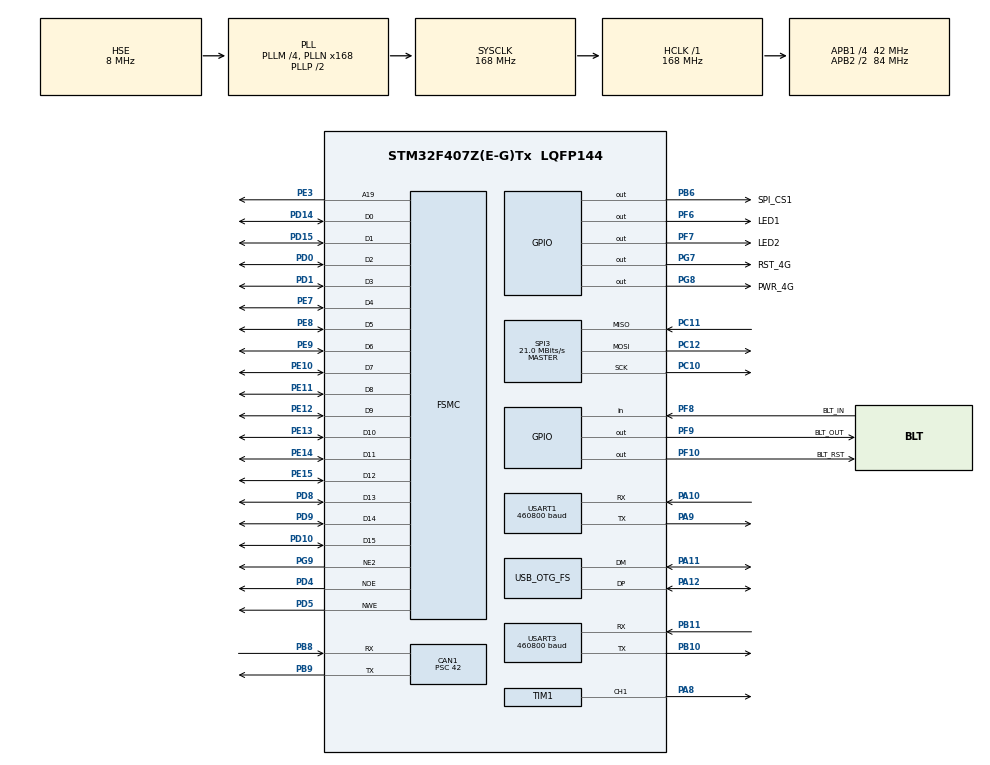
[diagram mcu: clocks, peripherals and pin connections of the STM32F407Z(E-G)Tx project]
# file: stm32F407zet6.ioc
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CAN1.ABOM=ENABLE
CAN1.AWUM=ENABLE
CAN1.BS1=CAN_BS1_4TQ
CAN1.BS2=CAN_BS2_3TQ
CAN1.CalculateBaudRate=125000
CAN1.CalculateTimeBit=8000
CAN1.CalculateTimeQuantum=1000.0
CAN1.Prescaler=42
Dma.Request0=TIM1_CH1
Dma.TIM1_CH1.0.Direction=DMA_MEMORY_TO_PERIPH
Dma.TIM1_CH1.0.FIFOMode=DMA_FIFOMODE_DISABLE
Dma.TIM1_CH1.0.Instance=DMA2_Stream1
Dma.TIM1_CH1.0.MemDataAlignment=DMA_MDATAALIGN_HALFWORD
Dma.TIM1_CH1.0.MemInc=DMA_MINC_ENABLE
Dma.TIM1_CH1.0.Mode=DMA_NORMAL
Dma.TIM1_CH1.0.PeriphDataAlignment=DMA_PDATAALIGN_HALFWORD
Dma.TIM1_CH1.0.PeriphInc=DMA_PINC_DISABLE
Dma.TIM1_CH1.0.Priority=DMA_PRIORITY_LOW
FREERTOS.Events01=getCarData,Dynamic,NULL
FREERTOS.INCLUDE_eTaskGetState=0
FREERTOS.INCLUDE_xEventGroupSetBitFromISR=1
FREERTOS.Mutexes01=lvgl_mutex,Dynamic,NULL
FREERTOS.Tasks01=iotUploadTask,32,512,Start_IotUploadTask,Default,NULL,Dynamic,NULL,NULL;LVGL_Task,48,1024,Start_LVGL_Task,Default,NULL,Dynamic,NULL,NULL;LVGL_Meter,48,256,Start_LVGL_Meter,Default,NULL,Dynamic,NULL,NULL;LVGL_Lap_Timer,48,128,Start_LVGL_Lap_Timer,Default,NULL,Dynamic,NULL,NULL;BC260Y_init,49,128,Start_BC260Y_init,Default,NULL,Dynamic,NULL,NULL;RPM_LED_Task,40,128,Start_RPM_LED,Default,NULL,Dynamic,NULL,NULL
FSMC.BusTurnAroundDuration2=1
FSMC.DataSetupTime2=60
FSMC.ExtendedAddressSetupTime2=2
FSMC.ExtendedBusTurnAroundDuration2=1
FSMC.ExtendedDataSetupTime2=3
FSMC.ExtendedMode2=FSMC_EXTENDED_MODE_ENABLE
Mcu.Family=STM32F4
Mcu.Name=STM32F407Z(E-G)Tx
Mcu.Package=LQFP144
NVIC.CAN1_RX0_IRQn=true\:5\:0\:false\:false\:true\:true\:true\:true\:true
NVIC.DMA2_Stream1_IRQn=true\:5\:0\:false\:false\:true\:true\:false\:true\:true
NVIC.OTG_FS_IRQn=true\:5\:0\:false\:false\:true\:true\:false\:true\:true
NVIC.PriorityGroup=NVIC_PRIORITYGROUP_4
NVIC.TIM2_IRQn=true\:15\:0\:false\:false\:true\:false\:false\:true\:true
NVIC.TIM3_IRQn=true\:5\:0\:false\:false\:true\:true\:true\:true\:true
NVIC.TIM4_IRQn=true\:5\:0\:false\:false\:true\:true\:true\:true\:true
NVIC.TimeBase=TIM2_IRQn
NVIC.TimeBaseIP=TIM2
NVIC.USART1_IRQn=true\:5\:0\:false\:false\:true\:true\:true\:true\:true
NVIC.USART3_IRQn=true\:5\:0\:false\:false\:true\:true\:true\:true\:true
PA10.Mode=Asynchronous
PA10.Signal=USART1_RX
PA11.Mode=Device_Only
PA11.Signal=USB_OTG_FS_DM
PA12.Mode=Device_Only
PA12.Signal=USB_OTG_FS_DP
PA13.Mode=Serial_Wire
PA13.Signal=SYS_JTMS-SWDIO
PA14.Mode=Serial_Wire
PA14.Signal=SYS_JTCK-SWCLK
PA8.Signal=S_TIM1_CH1
PA9.Mode=Asynchronous
PA9.Signal=USART1_TX
PB10.Mode=Asynchronous
PB10.Signal=USART3_TX
PB11.Mode=Asynchronous
PB11.Signal=USART3_RX
PB6.GPIO_Label=SPI_CS1
PB6.Signal=GPIO_Output
PB8.Mode=CAN_Activate
PB8.Signal=CAN1_RX
PB9.Mode=CAN_Activate
PB9.Signal=CAN1_TX
PC10.Mode=Full_Duplex_Master
PC10.Signal=SPI3_SCK
PC11.Mode=Full_Duplex_Master
PC11.Signal=SPI3_MISO
PC12.Mode=Full_Duplex_Master
PC12.Signal=SPI3_MOSI
PD0.Signal=FSMC_D2_DA2
PD1.Signal=FSMC_D3_DA3
PD10.Signal=FSMC_D15_DA15
PD14.Signal=FSMC_D0_DA0
PD15.Signal=FSMC_D1_DA1
PD4.Signal=FSMC_NOE
PD5.Signal=FSMC_NWE
PD8.Signal=FSMC_D13_DA13
PD9.Signal=FSMC_D14_DA14
PE10.Signal=FSMC_D7_DA7
PE11.Signal=FSMC_D8_DA8
PE12.Signal=FSMC_D9_DA9
PE13.Signal=FSMC_D10_DA10
PE14.Signal=FSMC_D11_DA11
PE15.Signal=FSMC_D12_DA12
PE3.Signal=FSMC_A19
PE7.Signal=FSMC_D4_DA4
PE8.Signal=FSMC_D5_DA5
PE9.Signal=FSMC_D6_DA6
PF10.GPIO_Label=BLT_RST
PF10.Signal=GPIO_Output
PF6.GPIO_Label=LED1
PF6.PinState=GPIO_PIN_SET
PF6.Signal=GPIO_Output
PF7.GPIO_Label=LED2
PF7.PinState=GPIO_PIN_SET
PF7.Signal=GPIO_Output
PF8.GPIO_Label=BLT_IN
PF8.Signal=GPIO_Input
PF9.GPIO_Label=BLT_OUT
PF9.Signal=GPIO_Output
PG7.GPIO_Label=RST_4G
PG7.Signal=GPIO_Output
PG8.GPIO_Label=PWR_4G
PG8.Signal=GPIO_Output
PG9.Mode=NorPsramChipSelect2_2
PG9.Signal=FSMC_NE2
PH0-OSC_IN.Mode=HSE-External-Oscillator
PH0-OSC_IN.Signal=RCC_OSC_IN
PH1-OSC_OUT.Mode=HSE-External-Oscillator
PH1-OSC_OUT.Signal=RCC_OSC_OUT
ProjectManager.HeapSize=0xC00
ProjectManager.StackSize=0x1000
ProjectManager.TargetToolchain=MDK-ARM V5.32
RCC.48MHZClocksFreq_Value=48000000
RCC.AHBFreq_Value=168000000
RCC.APB1CLKDivider=RCC_HCLK_DIV4
RCC.APB1Freq_Value=42000000
RCC.APB1TimFreq_Value=84000000
RCC.APB2CLKDivider=RCC_HCLK_DIV2
RCC.APB2Freq_Value=84000000
RCC.APB2TimFreq_Value=168000000
RCC.CortexFreq_Value=168000000
RCC.HCLKFreq_Value=168000000
RCC.HSE_VALUE=8000000
RCC.HSI_VALUE=16000000
RCC.LSE_VALUE=32768
RCC.PLLM=4
RCC.PLLN=168
RCC.PLLQ=7
RCC.PLLSourceVirtual=RCC_PLLSOURCE_HSE
RCC.SYSCLKFreq_VALUE=168000000
RCC.SYSCLKSource=RCC_SYSCLKSOURCE_PLLCLK
RCC.VCOOutputFreq_Value=336000000
SH.FSMC_A19.0=FSMC_A19,A19_2
SH.FSMC_D0_DA0.0=FSMC_D0,16b-d2
SH.FSMC_D10_DA10.0=FSMC_D10,16b-d2
SH.FSMC_D11_DA11.0=FSMC_D11,16b-d2
SH.FSMC_D12_DA12.0=FSMC_D12,16b-d2
SH.FSMC_D13_DA13.0=FSMC_D13,16b-d2
SH.FSMC_D14_DA14.0=FSMC_D14,16b-d2
SH.FSMC_D15_DA15.0=FSMC_D15,16b-d2
SH.FSMC_D1_DA1.0=FSMC_D1,16b-d2
SH.FSMC_D2_DA2.0=FSMC_D2,16b-d2
SH.FSMC_D3_DA3.0=FSMC_D3,16b-d2
SH.FSMC_D4_DA4.0=FSMC_D4,16b-d2
SH.FSMC_D5_DA5.0=FSMC_D5,16b-d2
SH.FSMC_D6_DA6.0=FSMC_D6,16b-d2
SH.FSMC_D7_DA7.0=FSMC_D7,16b-d2
SH.FSMC_D8_DA8.0=FSMC_D8,16b-d2
SH.FSMC_D9_DA9.0=FSMC_D9,16b-d2
SH.FSMC_NOE.0=FSMC_NOE,Lcd2
SH.FSMC_NWE.0=FSMC_NWE,Lcd2
SH.S_TIM1_CH1.0=TIM1_CH1,PWM Generation1 CH1
SPI3.BaudRatePrescaler=SPI_BAUDRATEPRESCALER_2
SPI3.CalculateBaudRate=21.0 MBits/s
SPI3.Direction=SPI_DIRECTION_2LINES
SPI3.Mode=SPI_MODE_MASTER
SPI3.VirtualType=VM_MASTER
STMicroelectronics.X-CUBE-TOUCHGFX.4.20.0.tgfx_block_size=38400
STMicroelectronics.X-CUBE-TOUCHGFX.4.20.0.tgfx_buffering_strategy=Single
STMicroelectronics.X-CUBE-TOUCHGFX.4.20.0.tgfx_custom_height=240
STMicroelectronics.X-CUBE-TOUCHGFX.4.20.0.tgfx_custom_width=240
STMicroelectronics.X-CUBE-TOUCHGFX.4.20.0.tgfx_datareader=Disabled
STMicroelectronics.X-CUBE-TOUCHGFX.4.20.0.tgfx_display_interface=disp_fmc
STMicroelectronics.X-CUBE-TOUCHGFX.4.20.0.tgfx_fmc_base_address=0x64000000
STMicroelectronics.X-CUBE-TOUCHGFX.4.20.0.tgfx_location=Allocate
STMicroelectronics.X-CUBE-TOUCHGFX.4.20.0.tgfx_number_of_blocks=1
STMicroelectronics.X-CUBE-TOUCHGFX.4.20.0_IsPackSelfContextualization=true
TIM1.Channel-PWM\ Generation1\ CH1=TIM_CHANNEL_1
TIM1.Period=209
TIM3.Period=9
TIM3.Prescaler=8399
TIM4.Period=99
TIM4.Prescaler=8399
USART1.BaudRate=460800
USART1.VirtualMode=VM_ASYNC
USART3.BaudRate=460800
USART3.VirtualMode=VM_ASYNC
USB_DEVICE.CLASS_NAME_FS=CDC
USB_DEVICE.USBD_MAX_STR_DESC_SIZ-CDC_FS=128
USB_DEVICE.VirtualMode-CDC_FS=Cdc
USB_DEVICE.VirtualModeFS=Cdc_FS
USB_OTG_FS.VirtualMode=Device_Only
VP_CRC_VS_CRC.Mode=CRC_Activate
VP_FREERTOS_VS_CMSIS_V2.Mode=CMSIS_V2
VP_SYS_VS_tim2.Mode=TIM2
VP_TIM1_VS_ClockSourceINT.Mode=Internal
VP_TIM3_VS_ClockSourceINT.Mode=Internal
VP_TIM4_VS_ClockSourceINT.Mode=Internal
VP_USB_DEVICE_VS_USB_DEVICE_CDC_FS.Mode=CDC_FS
board=custom

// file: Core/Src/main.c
/* USER CODE BEGIN Header */
/**
  ******************************************************************************
  * @file           : main.c
  * @brief          : Main program body
  ******************************************************************************
  * @attention
  *
  * Copyright (c) 2022 STMicroelectronics.
  * All rights reserved.
  *
  * This software is licensed under terms that can be found in the LICENSE file
  * in the root directory of this software component.
  * If no LICENSE file comes with this software, it is provided AS-IS.
  *
  ******************************************************************************
  */
/* USER CODE END Header */
#include "main.h"
#include "cmsis_os.h"
#include "can.h"
#include "crc.h"
#include "dma.h"
#include "spi.h"
#include "tim.h"
#include "usart.h"
#include "usb_otg.h"
#include "gpio.h"
#include "fsmc.h"

/* USER CODE BEGIN Includes */
#include "bsp_LCD.h"
#include "bsp_BC260Y.h"
#include "bsp_WS2812B.h"
#include "bsp_CAN.h"
#include "lvgl.h"
#include "lv_port_disp.h"
#include "ui.h"
#include "applicationVar.h"

/* USER CODE END Includes */

/* USER CODE BEGIN PD */
#define SPI_FATFS_DEBUG 0
#define LVGL_DEBUG 1

/* USER CODE END PD */

/* USER CODE BEGIN PV */
#if SPI_FATFS_DEBUG
#include "spi.h"
#include "lv_port_fs.h"
#include "ff.h"
uint8_t errorCode,formatSTAT,i;
FATFS fs;//文件系统对象
FIL fp;//文件对象
BYTE work[4096];
extern LV_ATTRIBUTE_MEM_ALIGN uint8_t ui_img_splash_png_data[];
char *write_text="FATFS test success!!!!";
unsigned int write_bytes=0;
char read_buff[8192];
unsigned int read_bytes=0;
#endif
/* USER CODE END PV */

void SystemClock_Config(void);
void MX_FREERTOS_Init(void);

/* USER CODE BEGIN 0 */
#if SPI_FATFS_DEBUG
void SPI_FLASH_WriteTest()
{
	if(!f_open(&fp,"0:test.txt",FA_CREATE_ALWAYS | FA_WRITE))
	{
		printf("open file success!\n");
	}
	else printf("open file failure!\n");

	if(!f_write(&fp,(char*)ui_img_splash_png_data,strlen((char*)ui_img_splash_png_data),&write_bytes))
	{
		printf("write success,write_bytes=%d\n",write_bytes);
	}
	else printf("write failure!\n");
 	if(!f_close(&fp))
	{
		printf("close success!\n");
	}
	else printf("close failure!\n");
	if(!f_open(&fp,"0:test.txt",FA_READ))
	{
		printf("open file success!\n");
	}
	else printf("open file failure!\n");
	if(!f_read(&fp,(char*)read_buff,sizeof(read_buff),&read_bytes))
	{
		printf("read success,write_bytes=%d\n",read_bytes);
		printf("test.txt content is :%s\n",read_buff);
	}
	else printf("read failure!\n");
	if(!f_close(&fp))
	{
		printf("close success!\n");
	}
	else printf("close failure!\n");
}
#endif

/* USER CODE END 0 */

int main(void)
{
  /* USER CODE BEGIN 1 */

//	uint8_t barUpdataFlag = 1;
  /* USER CODE END 1 */

  /* MCU Configuration--------------------------------------------------------*/

  /* Reset of all peripherals, Initializes the Flash interface and the Systick. */
  HAL_Init();

  /* Configure the system clock */
  SystemClock_Config();

  /* Initialize all configured peripherals */
  MX_GPIO_Init();
  MX_DMA_Init();
  MX_FSMC_Init();
  MX_CRC_Init();
  MX_TIM3_Init();
  MX_SPI3_Init();
  MX_USART1_UART_Init();
  MX_TIM1_Init();
  MX_CAN1_Init();
  MX_USART3_UART_Init();
  MX_TIM4_Init();
  MX_USB_OTG_FS_PCD_Init();
  /* USER CODE BEGIN 2 */
	//   LVGL任务定时器中断
	HAL_TIM_Base_Start_IT(&htim3);
	appStatus.initOK_Flag = 0;
	appStatus.standByStatus = 1; //打开待机模式
	appStatus.canOpenStatus = 0; //关闭实车模式
	appStatus.simhubStatus  = 0; //关闭模拟器模式
	CanFilterInit();
	ws2812_init(12);
	LCD_Init();
	LCD_Clear(BLACK);
#if LVGL_DEBUG
	lv_init();
	lv_port_disp_init();  // lvgl显示接口初始化,放在lv_init()的后面
	//lv_port_fs_init();
	//lv_bmp_init();
	ui_init();

#endif
#if SPI_FATFS_DEBUG
	formatSTAT = f_mkfs("0:",0,work,sizeof work);
	printf("format stat is :%d\n",formatSTAT);
	errorCode = f_mount(&fs,"0:",1);

	if(!errorCode)//挂载外部FLASH)
	{
		printf("mount success!\n");
	}
	else
	{
		printf("Mount Failed!!!errorCode:%d\r\n",errorCode);
	}
	SPI_FLASH_WriteTest();
#endif
  /* USER CODE END 2 */

  /* Init scheduler */
  osKernelInitialize();  /* Call init function for freertos objects (in freertos.c) */
  MX_FREERTOS_Init();

  /* Start scheduler */
  osKernelStart();

  /* We should never get here as control is now taken by the scheduler */
  /* Infinite loop */
  /* USER CODE BEGIN WHILE */
//  while (1)
//  {
//		if(barFlag == 1)
//			sendEventCode();
//#if LVGL_DEBUG
//		lv_task_handler(); // lvgl的事务处理
//#endif
//		HAL_Delay(1);
//
    /* USER CODE END WHILE */

    /* USER CODE BEGIN 3 */
//  }
  /* USER CODE END 3 */
}

void SystemClock_Config(void)
{
  RCC_OscInitTypeDef RCC_OscInitStruct = {0};
  RCC_ClkInitTypeDef RCC_ClkInitStruct = {0};

  /** Configure the main internal regulator output voltage
  */
  __HAL_RCC_PWR_CLK_ENABLE();
  __HAL_PWR_VOLTAGESCALING_CONFIG(PWR_REGULATOR_VOLTAGE_SCALE1);

  /** Initializes the RCC Oscillators according to the specified parameters
  * in the RCC_OscInitTypeDef structure.
  */
  RCC_OscInitStruct.OscillatorType = RCC_OSCILLATORTYPE_HSE;
  RCC_OscInitStruct.HSEState = RCC_HSE_ON;
  RCC_OscInitStruct.PLL.PLLState = RCC_PLL_ON;
  RCC_OscInitStruct.PLL.PLLSource = RCC_PLLSOURCE_HSE;
  RCC_OscInitStruct.PLL.PLLM = 4;
  RCC_OscInitStruct.PLL.PLLN = 168;
  RCC_OscInitStruct.PLL.PLLP = RCC_PLLP_DIV2;
  RCC_OscInitStruct.PLL.PLLQ = 7;
  if (HAL_RCC_OscConfig(&RCC_OscInitStruct) != HAL_OK)
  {
    Error_Handler();
  }

  /** Initializes the CPU, AHB and APB buses clocks
  */
  RCC_ClkInitStruct.ClockType = RCC_CLOCKTYPE_HCLK|RCC_CLOCKTYPE_SYSCLK
                              |RCC_CLOCKTYPE_PCLK1|RCC_CLOCKTYPE_PCLK2;
  RCC_ClkInitStruct.SYSCLKSource = RCC_SYSCLKSOURCE_PLLCLK;
  RCC_ClkInitStruct.AHBCLKDivider = RCC_SYSCLK_DIV1;
  RCC_ClkInitStruct.APB1CLKDivider = RCC_HCLK_DIV4;
  RCC_ClkInitStruct.APB2CLKDivider = RCC_HCLK_DIV2;

  if (HAL_RCC_ClockConfig(&RCC_ClkInitStruct, FLASH_LATENCY_5) != HAL_OK)
  {
    Error_Handler();
  }
}

void HAL_TIM_PeriodElapsedCallback(TIM_HandleTypeDef *htim)
{
  if (htim->Instance == TIM2) {
    HAL_IncTick();
  }
  /* USER CODE BEGIN Callback 1 */
	if (htim == (&htim3))
  {
		lv_tick_inc(1);//lvgl的1ms中断
			//printf("tick\n");
  }
	if(htim == (&htim4))
	{
		msec+=1;
		if(msec == 100)
		{
			msec = 0;
			sec+=1;
		}
		if(sec == 60)
		{
			sec = 0;
			min+=1;

		}
		if(min == 60)
		{
			msec = 0;
			min = 0;
			sec = 0;
		}
	}
  /* USER CODE END Callback 1 */
}

void Error_Handler(void)
{
  __disable_irq();
  while (1)
  {
  }
}

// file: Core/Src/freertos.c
/* USER CODE BEGIN Header */
/**
  ******************************************************************************
  * File Name          : freertos.c
  * Description        : Code for freertos applications
  ******************************************************************************
  * @attention
  *
  * Copyright (c) 2023 STMicroelectronics.
  * All rights reserved.
  *
  * This software is licensed under terms that can be found in the LICENSE file
  * in the root directory of this software component.
  * If no LICENSE file comes with this software, it is provided AS-IS.
  *
  ******************************************************************************
  */
/* USER CODE END Header */

#include "FreeRTOS.h"
#include "task.h"
#include "main.h"
#include "cmsis_os.h"

/* USER CODE BEGIN Includes */
//#include "bsp_LCD.h"
#include "bsp_BC260Y.h"
//#include "bsp_WS2812B.h"
#include "lvgl.h"
#include "lv_port_disp.h"
#include "ui.h"
#include "tim.h"
#include "bsp_WS2812B.h"
#include "SH_Data.h"
#include "usbd_cdc_acm_if.h"
#include "usb_device.h"
#include "Bsp_USB_Composite.h"
#include "applicationVar.h"
/* USER CODE END Includes */

/* Definitions for iotUploadTask */
osThreadId_t iotUploadTaskHandle;
const osThreadAttr_t iotUploadTask_attributes = {
  .name = "iotUploadTask",
  .stack_size = 512 * 4,
  .priority = (osPriority_t) osPriorityAboveNormal,
};
/* Definitions for LVGL_Task */
osThreadId_t LVGL_TaskHandle;
const osThreadAttr_t LVGL_Task_attributes = {
  .name = "LVGL_Task",
  .stack_size = 512 * 6,
  .priority = (osPriority_t) osPriorityRealtime,
};
/* Definitions for LVGL_Meter */
osThreadId_t LVGL_MeterHandle;
const osThreadAttr_t LVGL_Meter_attributes = {
  .name = "LVGL_Meter",
  .stack_size = 512 * 12,
  .priority = (osPriority_t) osPriorityRealtime,
};
/* Definitions for LVGL_Lap_Timer */
osThreadId_t LVGL_Lap_TimerHandle;
const osThreadAttr_t LVGL_Lap_Timer_attributes = {
  .name = "LVGL_Lap_Timer",
  .stack_size = 128 * 4,
  .priority = (osPriority_t) osPriorityRealtime,
};
/* Definitions for BC260Y_init */
osThreadId_t BC260Y_initHandle;
const osThreadAttr_t BC260Y_init_attributes = {
  .name = "BC260Y_init",
  .stack_size = 128 * 4,
  .priority = (osPriority_t) osPriorityRealtime1,
};
/* Definitions for RPM_LED_Task */
osThreadId_t RPM_LED_TaskHandle;
const osThreadAttr_t RPM_LED_Task_attributes = {
  .name = "RPM_LED_Task",
  .stack_size = 128 * 4,
  .priority = (osPriority_t) osPriorityHigh,
};
/* Definitions for lvgl_mutex */
osMutexId_t lvgl_mutexHandle;
const osMutexAttr_t lvgl_mutex_attributes = {
  .name = "lvgl_mutex"
};
/* Definitions for getCarData */
osEventFlagsId_t getCarDataHandle;
const osEventFlagsAttr_t getCarData_attributes = {
  .name = "getCarData"
};

/* USER CODE BEGIN FunctionPrototypes */
extern struct SH_CarData sh_CarData;
/* USER CODE END FunctionPrototypes */

void Start_IotUploadTask(void *argument);
void Start_LVGL_Task(void *argument);
void Start_LVGL_Meter(void *argument);
void Start_LVGL_Lap_Timer(void *argument);
void Start_BC260Y_init(void *argument);
void Start_RPM_LED(void *argument);

void MX_FREERTOS_Init(void); /* (MISRA C 2004 rule 8.1) */

void MX_FREERTOS_Init(void) {
  /* USER CODE BEGIN Init */

	lvgl_mutexHandle = osMutexNew(&lvgl_mutex_attributes);

	LVGL_TaskHandle = osThreadNew(Start_LVGL_Task, NULL, &LVGL_Task_attributes);

	LVGL_MeterHandle = osThreadNew(Start_LVGL_Meter, NULL, &LVGL_Meter_attributes);
	#if canOPEN

	#endif

	RPM_LED_TaskHandle = osThreadNew(Start_RPM_LED, NULL, &RPM_LED_Task_attributes);

	getCarDataHandle = osEventFlagsNew(&getCarData_attributes);
  /* USER CODE END Init */
/* USER CODE BEGIN Header */
/**
  ******************************************************************************
  * File Name          : freertos.c
  * Description        : Code for freertos applications
  ******************************************************************************
  * @attention
  *
  * Copyright (c) 2023 STMicroelectronics.
  * All rights reserved.
  *
  * This software is licensed under terms that can be found in the LICENSE file
  * in the root directory of this software component.
  * If no LICENSE file comes with this software, it is provided AS-IS.
  *
  ******************************************************************************
  */
/* USER CODE END Header */

}

void Start_IotUploadTask(void *argument)
{
  /* USER CODE BEGIN Start_IotUploadTask */
	uint32_t r_event;
  /* Infinite loop */
  for(;;)
  {
		r_event = osEventFlagsWait(getCarDataHandle,             /* 事件对象句柄 */
                              UPLOAD_EVENT,    /* 接收任务感兴趣的事件 */
                              osFlagsWaitAll,           /* 退出时清除事件位，同时满足感兴趣的所有事件 */
                              osWaitForever);           /* 指定超时事件,一直等 */
		//进入进程后删除掉初始化MQTT的进程
		osThreadTerminate(BC260Y_initHandle);

		if(r_event)
		{
			osMutexWait(lvgl_mutexHandle,     /* 互斥量句柄 */
                          osWaitForever);
			//5fps
			uploadCarData();

			osMutexRelease(lvgl_mutexHandle);
		}

    //osDelay(200);
  }
  /* USER CODE END Start_IotUploadTask */
}

void Start_LVGL_Task(void *argument)
{
  /* USER CODE BEGIN Start_LVGL_Task */
	/* init code for USB_DEVICE */
	MX_USB_DEVICE_Init();
  /* Infinite loop */
  for(;;)
  {

		osMutexWait(lvgl_mutexHandle,     /* 互斥量句柄 */
                          osWaitForever);

		if(barFlag == 1)
		{
			sendEventCode();
		}
		if(appStatus.simhubStatus)
			USB_ControlData_Send();
		//json_analysis((char *)pRx);
		lv_task_handler(); // lvgl的事务处理

		osMutexRelease(lvgl_mutexHandle);
    osDelay(1);
  }
  /* USER CODE END Start_LVGL_Task */
}

void Start_LVGL_Meter(void *argument)
{
  /* USER CODE BEGIN Start_LVGL_Meter */

  uint32_t r_event;
  /* Infinite loop */
  for(;;)
  {
		r_event = osEventFlagsWait(getCarDataHandle,             /* 事件对象句柄 */
                              GUI_UPDATE_EVENT,    					/* 接收任务感兴趣的事件 */
                              osFlagsWaitAll,           /* 退出时清除事件位，同时满足感兴趣的所有事件 */
                              osWaitForever);           /* 指定超时事件,一直等 */
		//获取事件组状态

		if(r_event)
		//更新界面显示
		{
			osMutexWait(lvgl_mutexHandle,     /* 互斥量句柄 */
                          osWaitForever);
			if(appStatus.canOpenStatus)
			{
				appStatus.simhubStatus = 0;
				meterAnimation();
				lv_label_set_text_fmt(ui_speedNum, "%03d", racingCarData.FrontSpeed);
				lv_label_set_text_fmt(ui_rpmNum, "%04d", racingCarData.rmotorSpeed);
				lv_label_set_text_fmt(ui_batTemp, "%03d", racingCarData.batTemp);
				lv_label_set_text_fmt(ui_lMotorTemp, "%02d", racingCarData.lmotorTemp);
				lv_label_set_text_fmt(ui_rMotorTemp, "%02d", racingCarData.rmotorTemp);

				lv_bar_set_value(ui_socValue, racingCarData.batLevel, LV_ANIM_ON);
				if(racingCarData.gearMode == 0)
					lv_label_set_text(ui_gearLable, "N");
				else if(racingCarData.gearMode == 1)
					lv_label_set_text(ui_gearLable, "R");
				else
					lv_label_set_text(ui_gearLable, "D");
				if(racingCarData.carMode == 0)
				{
					lv_obj_set_style_text_color(ui_speedMode, lv_color_hex(0x6464F1), LV_PART_MAIN | LV_STATE_DEFAULT);
					lv_obj_set_style_text_opa(ui_speedMode, 255, LV_PART_MAIN | LV_STATE_DEFAULT);
					lv_obj_set_style_text_font(ui_speedMode, &ui_font_icon_bettery, LV_PART_MAIN | LV_STATE_DEFAULT);

					lv_obj_set_style_text_color(ui_ecoMode, lv_color_hex(0x808080), LV_PART_MAIN | LV_STATE_DEFAULT);
					lv_obj_set_style_text_opa(ui_ecoMode, 255, LV_PART_MAIN | LV_STATE_DEFAULT);
					lv_obj_set_style_text_font(ui_ecoMode, &ui_font_icon_bettery, LV_PART_MAIN | LV_STATE_DEFAULT);
				}
				else
				{
					lv_obj_set_style_text_color(ui_speedMode, lv_color_hex(0x808080), LV_PART_MAIN | LV_STATE_DEFAULT);
					lv_obj_set_style_text_opa(ui_speedMode, 255, LV_PART_MAIN | LV_STATE_DEFAULT);
					lv_obj_set_style_text_font(ui_speedMode, &ui_font_icon_bettery, LV_PART_MAIN | LV_STATE_DEFAULT);

					lv_obj_set_style_text_color(ui_ecoMode, lv_color_hex(0x80FF80), LV_PART_MAIN | LV_STATE_DEFAULT);
					lv_obj_set_style_text_opa(ui_ecoMode, 255, LV_PART_MAIN | LV_STATE_DEFAULT);
					lv_obj_set_style_text_font(ui_ecoMode, &ui_font_icon_bettery, LV_PART_MAIN | LV_STATE_DEFAULT);
				}
			}
			#if canOPEN

			#endif
			if(appStatus.simhubStatus)
			{
				appStatus.canOpenStatus = 0;
				SH_Set_Data();
				meterAnimation();
				lv_label_set_text_fmt(ui_speedNum, "%03d", sh_CarData.speed);
				lv_label_set_text_fmt(ui_rpmNum, "%04d", sh_CarData.rpm);
				//lv_label_set_text_fmt(ui_batTemp, "%03d", racingCarData.batTemp);
				lv_label_set_text_fmt(ui_batTemp, "%03d", sh_CarData.lap);
				lv_label_set_text_fmt(ui_lMotorTemp, "%03d", sh_CarData.throttle);
				lv_label_set_text_fmt(ui_rMotorTemp, "%03d", sh_CarData.brake);
				lv_label_set_text_fmt(ui_bespLapTime, "%.*s", 8, sh_CarData.bLapTime);
				//lv_label_set_text(ui_lapTime, (char *)sh_CarData.cLapTime);
				lv_label_set_text_fmt(ui_lapTime, "%.*s", 8, sh_CarData.cLapTime);
				lv_bar_set_value(ui_socValue, sh_CarData.fuel, LV_ANIM_ON);
				lv_label_set_text_fmt(ui_gearLable, "%.*s", 1, sh_CarData.Gear);
//			lv_label_set_text(ui_gearLable, (char *)sh_CarData.Gear);
//			lv_label_set_text(ui_lapTime, (char *)sh_CarData.cLapTime);
//			lv_label_set_text(ui_bespLapTime, (char *)sh_CarData.bLapTime);
			}
			#if simhubOPEN

			#endif

			osMutexRelease(lvgl_mutexHandle);
		}

//
    //osDelay(50);
  }
  /* USER CODE END Start_LVGL_Meter */
}

void Start_LVGL_Lap_Timer(void *argument)
{
  /* USER CODE BEGIN Start_LVGL_Lap_Timer */
  /* Infinite loop */
  for(;;)
  {
		 osMutexWait(lvgl_mutexHandle,     /* 互斥量句柄 */
                          osWaitForever);
		//更新计时器时间显示
		lv_label_set_text_fmt(ui_lapTime, "%02d:%02d:%02d", min, sec, msec);
		osMutexRelease(lvgl_mutexHandle); //释放互斥量

    osDelay(1);
  }
  /* USER CODE END Start_LVGL_Lap_Timer */
}

void Start_BC260Y_init(void *argument)
{
  /* USER CODE BEGIN Start_BC260Y_init */
  /* Infinite loop */
  for(;;)
  {
		//osMutexWait(lvgl_mutexHandle,     /* 互斥量句柄 */
    //                      osWaitForever);
		//执行MQTT初始化
		MQTTinitOkFlag = mqttServiceStartup();
		//启动上传进程
		iotUploadTaskHandle = osThreadNew(Start_IotUploadTask, NULL, &iotUploadTask_attributes);
		//将MQTT初始化结果发送给UI
		lv_event_send(ui_iotStatus, MQTT_INIT_OK, NULL);

		osThreadSuspend(BC260Y_initHandle);
		//osThreadExit();

		//osMutexRelease(lvgl_mutexHandle); //释放互斥量

    //osDelay(100);
  }
  /* USER CODE END Start_BC260Y_init */
}

void Start_RPM_LED(void *argument)
{
  /* USER CODE BEGIN Start_RPM_LED */
	uint32_t r_event;
  /* Infinite loop */
  for(;;)
  {
		r_event = osEventFlagsWait(getCarDataHandle,             /* 事件对象句柄 */
                              UPLOAD_EVENT,    /* 接收任务感兴趣的事件 */
                              osFlagsWaitAll,           /* 退出时清除事件位，同时满足感兴趣的所有事件 */
                              osWaitForever);           /* 指定超时事件,一直等 */
		//osMutexWait(lvgl_mutexHandle,     /* 互斥量句柄 */
    //                      osWaitForever);
		if(r_event)
			RPM_LED_Shine();

		//osMutexRelease(lvgl_mutexHandle); //释放互斥量
    //osDelay(10);
  }
  /* USER CODE END Start_RPM_LED */
}
